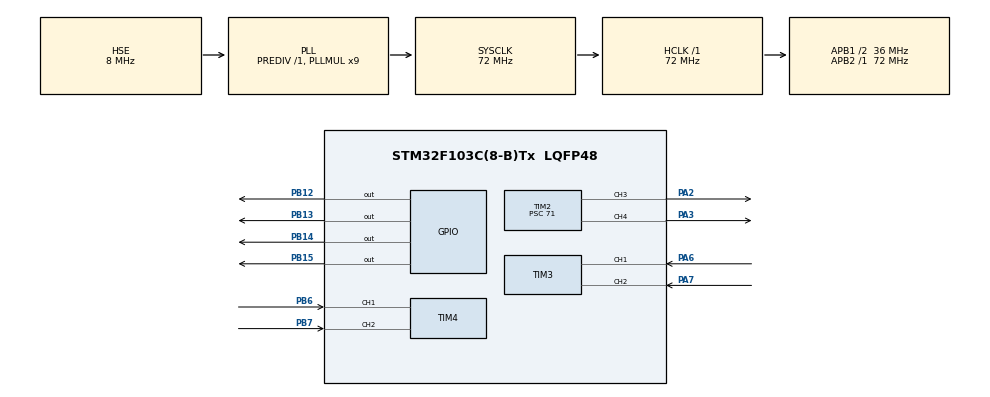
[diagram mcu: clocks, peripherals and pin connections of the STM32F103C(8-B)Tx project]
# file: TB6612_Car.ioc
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Mcu.Family=STM32F1
Mcu.Name=STM32F103C(8-B)Tx
Mcu.Package=LQFP48
NVIC.PriorityGroup=NVIC_PRIORITYGROUP_4
PA13.Mode=Serial_Wire
PA13.Signal=SYS_JTMS-SWDIO
PA14.Mode=Serial_Wire
PA14.Signal=SYS_JTCK-SWCLK
PA2.Signal=S_TIM2_CH3
PA3.Signal=S_TIM2_CH4
PA6.Signal=S_TIM3_CH1
PA7.Signal=S_TIM3_CH2
PB12.Signal=GPIO_Output
PB13.Signal=GPIO_Output
PB14.Signal=GPIO_Output
PB15.Signal=GPIO_Output
PB6.Signal=S_TIM4_CH1
PB7.Signal=S_TIM4_CH2
PD0-OSC_IN.Mode=HSE-External-Oscillator
PD0-OSC_IN.Signal=RCC_OSC_IN
PD1-OSC_OUT.Mode=HSE-External-Oscillator
PD1-OSC_OUT.Signal=RCC_OSC_OUT
ProjectManager.HeapSize=0x200
ProjectManager.StackSize=0x400
ProjectManager.TargetToolchain=MDK-ARM V5.32
RCC.AHBFreq_Value=72000000
RCC.APB1CLKDivider=RCC_HCLK_DIV2
RCC.APB1Freq_Value=36000000
RCC.APB1TimFreq_Value=72000000
RCC.APB2Freq_Value=72000000
RCC.APB2TimFreq_Value=72000000
RCC.HCLKFreq_Value=72000000
RCC.PLLMUL=RCC_PLL_MUL9
RCC.PLLSourceVirtual=RCC_PLLSOURCE_HSE
RCC.SYSCLKFreq_VALUE=72000000
RCC.SYSCLKSource=RCC_SYSCLKSOURCE_PLLCLK
RCC.USBFreq_Value=72000000
SH.S_TIM2_CH3.0=TIM2_CH3,PWM Generation3 CH3
SH.S_TIM2_CH4.0=TIM2_CH4,PWM Generation4 CH4
SH.S_TIM3_CH1.0=TIM3_CH1,Encoder_Interface
SH.S_TIM3_CH2.0=TIM3_CH2,Encoder_Interface
SH.S_TIM4_CH1.0=TIM4_CH1,Encoder_Interface
SH.S_TIM4_CH2.0=TIM4_CH2,Encoder_Interface
TIM2.Channel-PWM\ Generation3\ CH3=TIM_CHANNEL_3
TIM2.Channel-PWM\ Generation4\ CH4=TIM_CHANNEL_4
TIM2.Period=999
TIM2.Prescaler=71
VP_TIM2_VS_ClockSourceINT.Mode=Internal
board=custom

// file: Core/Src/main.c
/* USER CODE BEGIN Header */
/**
  ******************************************************************************
  * @file           : main.c
  * @brief          : Main program body
  ******************************************************************************
  * @attention
  *
  * Copyright (c) 2026 STMicroelectronics.
  * All rights reserved.
  *
  * This software is licensed under terms that can be found in the LICENSE file
  * in the root directory of this software component.
  * If no LICENSE file comes with this software, it is provided AS-IS.
  *
  ******************************************************************************
  */
/* USER CODE END Header */
#include "main.h"
#include "tim.h"
#include "gpio.h"

/* USER CODE BEGIN PV */
int16_t encoder_count =0;
/* USER CODE END PV */

void SystemClock_Config(void);

int main(void)
{

  /* MCU Configuration--------------------------------------------------------*/

  /* Reset of all peripherals, Initializes the Flash interface and the Systick. */
  HAL_Init();

  /* Configure the system clock */
  SystemClock_Config();

  /* Initialize all configured peripherals */
  MX_GPIO_Init();
  MX_TIM2_Init();
  MX_TIM3_Init();
  MX_TIM4_Init();
  /* USER CODE BEGIN 2 */

	HAL_TIM_PWM_Start(&htim2, TIM_CHANNEL_4); // 啟動 M1 的 PWM：PA3 = PWMB
	HAL_TIM_Encoder_Start(&htim3, TIM_CHANNEL_ALL); // 啟動 M1 編碼器：PA6/PA7

	__HAL_TIM_SET_COUNTER(&htim3, 0);// 編碼器計數歸零
	HAL_Delay(1000);

	HAL_TIM_Encoder_Start(&htim4, TIM_CHANNEL_ALL);
	__HAL_TIM_SET_COUNTER(&htim4, 0);

  /* USER CODE END 2 */

  /* Infinite loop */
  /* USER CODE BEGIN WHILE */
  while (1)
  {
		// M1 正轉
		HAL_GPIO_WritePin(GPIOB, GPIO_PIN_13, GPIO_PIN_SET);    // BIN1=1
		HAL_GPIO_WritePin(GPIOB, GPIO_PIN_12, GPIO_PIN_RESET);  // BIN2=0

		__HAL_TIM_SET_COMPARE(&htim2, TIM_CHANNEL_4, 700);// PWM = 700，馬達轉

		HAL_Delay(1000);

		encoder_count = (int16_t)__HAL_TIM_GET_COUNTER(&htim3);// 讀取 1 秒內 encoder 數值

		__HAL_TIM_SET_COUNTER(&htim3, 0);// encoder 歸零

		__HAL_TIM_SET_COMPARE(&htim2, TIM_CHANNEL_4, 0);// PWM = 0，馬達停

		HAL_Delay(1000);
    /* USER CODE END WHILE */

  }
}

void SystemClock_Config(void)
{
  RCC_OscInitTypeDef RCC_OscInitStruct = {0};
  RCC_ClkInitTypeDef RCC_ClkInitStruct = {0};

  /** Initializes the RCC Oscillators according to the specified parameters
  * in the RCC_OscInitTypeDef structure.
  */
  RCC_OscInitStruct.OscillatorType = RCC_OSCILLATORTYPE_HSE;
  RCC_OscInitStruct.HSEState = RCC_HSE_ON;
  RCC_OscInitStruct.HSEPredivValue = RCC_HSE_PREDIV_DIV1;
  RCC_OscInitStruct.HSIState = RCC_HSI_ON;
  RCC_OscInitStruct.PLL.PLLState = RCC_PLL_ON;
  RCC_OscInitStruct.PLL.PLLSource = RCC_PLLSOURCE_HSE;
  RCC_OscInitStruct.PLL.PLLMUL = RCC_PLL_MUL9;
  if (HAL_RCC_OscConfig(&RCC_OscInitStruct) != HAL_OK)
  {
    Error_Handler();
  }

  /** Initializes the CPU, AHB and APB buses clocks
  */
  RCC_ClkInitStruct.ClockType = RCC_CLOCKTYPE_HCLK|RCC_CLOCKTYPE_SYSCLK
                              |RCC_CLOCKTYPE_PCLK1|RCC_CLOCKTYPE_PCLK2;
  RCC_ClkInitStruct.SYSCLKSource = RCC_SYSCLKSOURCE_PLLCLK;
  RCC_ClkInitStruct.AHBCLKDivider = RCC_SYSCLK_DIV1;
  RCC_ClkInitStruct.APB1CLKDivider = RCC_HCLK_DIV2;
  RCC_ClkInitStruct.APB2CLKDivider = RCC_HCLK_DIV1;

  if (HAL_RCC_ClockConfig(&RCC_ClkInitStruct, FLASH_LATENCY_2) != HAL_OK)
  {
    Error_Handler();
  }
}

void Error_Handler(void)
{
  __disable_irq();
  while (1)
  {
  }
}
